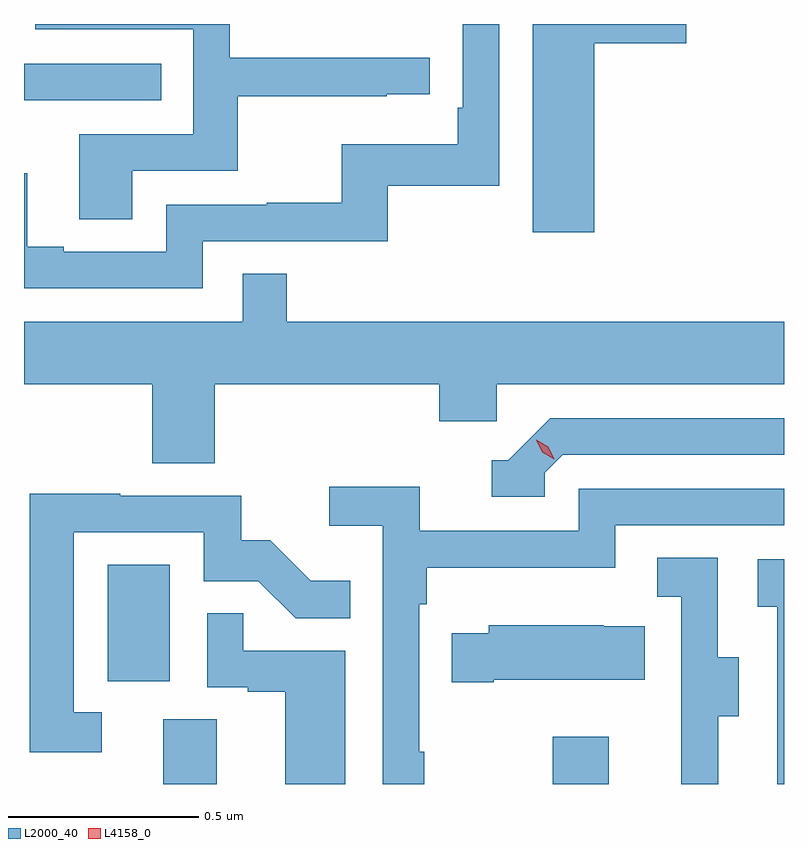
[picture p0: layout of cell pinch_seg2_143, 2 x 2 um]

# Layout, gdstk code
import gdstk
lib = gdstk.Library(unit=1e-6, precision=1e-09)
def R(c, l, rs):  # rectangles x0, y0, x1, y1
    for r in rs: c.add(gdstk.rectangle(r[:2], r[2:], *l))
def P(c, l, *ps):  # polygons
    for p in ps: c.add(gdstk.Polygon(p, *l))
L2000_40 = (2000, 40)
L4158_0 = (4158, 0)

pinch_seg2_143 = lib.new_cell('pinch_seg2_143')
R(pinch_seg2_143, L2000_40, [(1057.685,638.592,1057.825,638.762), (1058.71,638.592,1058.857,638.716), (1057.538,638.862,1057.702,639.169), (1057.318,640.392,1057.679,640.488)])
P(pinch_seg2_143, L2000_40, [(1057.788,640.02),(1058.275,640.02),(1058.275,640.167),(1058.568,640.167),(1058.568,640.592),(1058.472,640.592),(1058.472,640.372),(1058.459,640.372),(1058.459,640.276),(1058.154,640.276),(1058.154,640.121),(1057.957,640.121),(1057.957,640.116),(1057.692,640.116),(1057.692,639.993),(1057.423,639.993),(1057.423,640.006),(1057.327,640.006),(1057.327,640.199),(1057.318,640.199),(1057.318,639.897),(1057.788,639.897)],
  [(1058.818,640.541),(1059.061,640.541),(1059.061,640.592),(1058.657,640.592),(1058.657,640.044),(1058.818,640.044)],
  [(1057.603,640.206),(1057.88,640.206),(1057.88,640.402),(1058.273,640.402),(1058.273,640.407),(1058.386,640.407),(1058.386,640.503),(1057.86,640.503),(1057.86,640.592),(1057.348,640.592),(1057.348,640.578),(1057.764,640.578),(1057.764,640.302),(1057.463,640.302),(1057.463,640.078),(1057.603,640.078)],
  [(1057.82,639.644),(1058.411,639.644),(1058.411,639.546),(1058.562,639.546),(1058.562,639.644),(1059.318,639.644),(1059.318,639.808),(1058.009,639.808),(1058.009,639.935),(1057.893,639.935),(1057.893,639.808),(1057.318,639.808),(1057.318,639.644),(1057.655,639.644),(1057.655,639.436),(1057.82,639.436)],
  [(1058.688,639.411),(1058.736,639.459),(1059.318,639.459),(1059.318,639.555),(1058.703,639.555),(1058.592,639.444),(1058.549,639.444),(1058.549,639.348),(1058.688,639.348)],
  [(1058.371,638.677),(1058.358,638.677),(1058.358,639.065),(1058.378,639.065),(1058.378,639.161),(1058.874,639.161),(1058.874,639.273),(1059.318,639.273),(1059.318,639.369),(1058.778,639.369),(1058.778,639.258),(1058.36,639.258),(1058.36,639.374),(1058.121,639.374),(1058.121,639.272),(1058.262,639.272),(1058.262,638.592),(1058.371,638.592)],
  [(1057.522,638.781),(1057.449,638.781),(1057.449,639.255),(1057.791,639.255),(1057.791,639.126),(1057.935,639.126),(1058.033,639.028),(1058.177,639.028),(1058.177,639.127),(1058.073,639.127),(1057.966,639.234),(1057.89,639.234),(1057.89,639.351),(1057.571,639.351),(1057.571,639.356),(1057.333,639.356),(1057.333,638.676),(1057.522,638.676)],
  [(1059.145,638.77),(1059.199,638.77),(1059.199,638.925),(1059.144,638.925),(1059.144,639.188),(1058.985,639.188),(1058.985,639.085),(1059.048,639.085),(1059.048,638.781),(1059.047,638.781),(1059.047,638.592),(1059.145,638.592)],
  [(1059.318,639.183),(1059.249,639.183),(1059.249,639.059),(1059.3,639.059),(1059.3,638.592),(1059.318,638.592)],
  [(1058.164,638.943),(1057.895,638.943),(1057.895,639.041),(1057.8,639.041),(1057.8,638.847),(1057.907,638.847),(1057.907,638.835),(1058.006,638.835),(1058.006,638.592),(1058.164,638.592)],
  [(1058.554,638.867),(1058.951,638.867),(1058.951,639.007),(1058.843,639.007),(1058.843,639.01),(1058.541,639.01),(1058.541,638.989),(1058.443,638.989),(1058.443,638.86),(1058.554,638.86)])
P(pinch_seg2_143, L4158_0, [(1058.713,639.446),(1058.682,639.465),(1058.666,639.498),(1058.666,639.498),(1058.666,639.498),(1058.697,639.479),(1058.713,639.446),(1058.713,639.446)])

lib.write_gds('pinch_seg2_143.gds')
